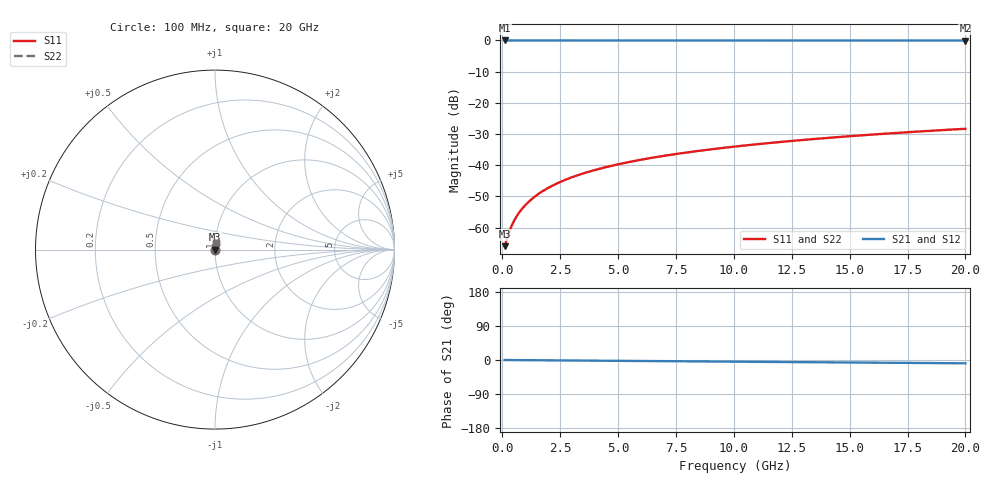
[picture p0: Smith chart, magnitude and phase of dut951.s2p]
! Touchstone file exported from HFSS 2026.1.0
!  File:  C:/ffzhzh/LocalFiles/Ansys_Project_Files/temp_train_TSV_951_1783187298_43440.aedt
!  Generated:  01:50:12 AM Jul  5, 2026
!  Design:  TSV
!  Project:  temp_train_TSV_951_1783187298_43440
! Variables:
!  h_bsmrdl = 2um
!  h_ox = 20um
!  h_rdl = 5um
!  h_sub = 88.54um
!  h_tmrdl = 5um
!  h_tsv = 88.54um
!  h_via = 3um
!  l_bsmrdl = 300um
!  l_sub = 409.94um
!  l_tmrdl = 200um
!  m_sub = 200um
!  pitch = 28.88um
!  r_tsv = 4.97um
!  s_tmrdl = 10um
!  w_bsmrdl = 18um
!  w_sub = 500um
!  w_tmrdl = 12um
!  x_tsv_center1 = 206um
!  x_tsv_center2 = 524um
!  x_tsv_center3 = 736um
!  x_tsv_center4 = 1054um
!  x_tsv_center5 = 1266um
!  x_tsv_center6 = 1584um
# GHz S MA R 50.000000
! Terminal data exported
! Port[1] = TSV1_1_T1
! Port[2] = TSV1_1_T2
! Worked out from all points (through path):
!   200 points, 100 MHz to 20 GHz, reference 50 ohm
!   highest |S21| = 0.00 dB at 100 MHz (marker M1); lowest = 0.0 dB at 20 GHz (marker M2)
!   group delay of S21, straight-line fit = 1.21 ps
!   lowest |S11| = -65.9 dB at 100 MHz (marker M3), VSWR 1.00, Z = 50 + j0.0243 ohm
!   |S11| at or under -10 dB: start of sweep to end of sweep
!   |S22| runs from -65.9 to -28.3 dB; largest |S21 - S12| = 4.5e-15
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0.1  0.0005055 28.7  0.9996 -0.0  0.9996 -0.0  0.0005055 28.7
! Gamma 0 0 0 0
! Port Impedance 50 0 50 0
0.3  0.0008582 56.3  0.9995 -0.1  0.9995 -0.1  0.0008582 56.3
0.4  0.001064 62.0  0.9995 -0.2  0.9995 -0.2  0.001064 62.0
0.5  0.001272 65.8  0.9995 -0.2  0.9995 -0.2  0.001272 65.8
0.6  0.00148 68.5  0.9995 -0.3  0.9995 -0.3  0.00148 68.5
0.8  0.001895 72.0  0.9994 -0.4  0.9994 -0.4  0.001895 72.0
1.1  0.002515 75.2  0.9994 -0.5  0.9994 -0.5  0.002515 75.2
1.3  0.002928 76.6  0.9993 -0.6  0.9993 -0.6  0.002928 76.6
1.6  0.003549 78.1  0.9993 -0.7  0.9993 -0.7  0.003549 78.1
2.1  0.004579 79.5  0.9992 -0.9  0.9992 -0.9  0.004579 79.5
2.7  0.005805 80.4  0.9991 -1.2  0.9991 -1.2  0.005805 80.4
3.5  0.007415 80.9  0.999 -1.6  0.999 -1.6  0.007415 80.9
4.2  0.008801 81.0  0.9989 -1.9  0.9989 -1.9  0.008801 81.0
5  0.01036 81.1  0.9987 -2.2  0.9987 -2.2  0.01036 81.1
5.9  0.0121 81.1  0.9986 -2.6  0.9986 -2.6  0.0121 81.1
6.8  0.01382 81.0  0.9985 -3.0  0.9985 -3.0  0.01382 81.0
8.3  0.01666 80.9  0.9983 -3.7  0.9983 -3.7  0.01666 80.9
10.1  0.02005 80.6  0.9981 -4.4  0.9981 -4.4  0.02005 80.6
11.7  0.02305 80.2  0.9979 -5.1  0.9979 -5.1  0.02305 80.2
13.4  0.02623 79.8  0.9977 -5.9  0.9977 -5.9  0.02623 79.8
16.7  0.03236 78.8  0.9973 -7.3  0.9973 -7.3  0.03236 78.8
20  0.03843 77.6  0.9968 -8.7  0.9968 -8.7  0.03843 77.6
